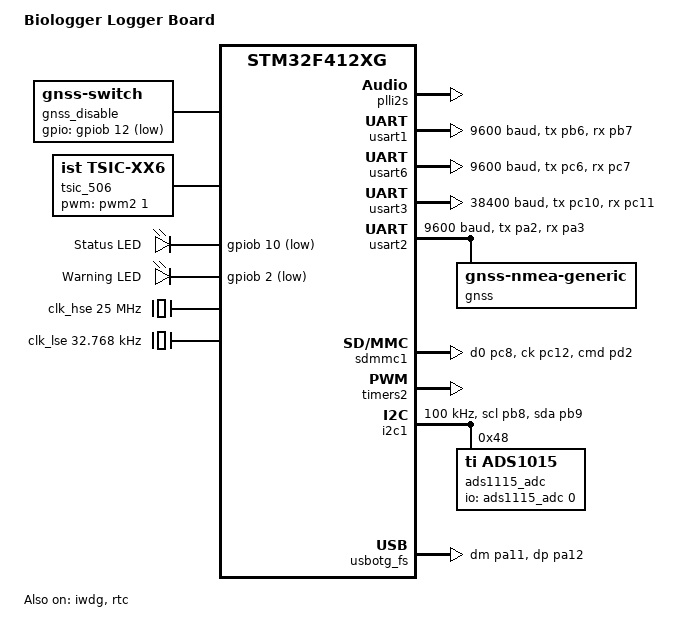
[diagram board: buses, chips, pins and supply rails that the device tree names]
/*
 * Copyright (c) 2024 Marko Vejnovic
 *
 * SPDX-License-Identifier: Apache-2.0
 */

/dts-v1/;
#include <st/f4/stm32f412Xg.dtsi>
#include <st/f4/stm32f412r(e-g)tx-pinctrl.dtsi>

/ {
    model = "Biologger Logger Board";
    compatible = "markovejnovic,biologger";

	chosen {
		zephyr,console = &usart3;
		zephyr,shell-uart = &usart3;
		zephyr,sram = &sram0;
		zephyr,flash = &flash0;
	};

    gnss_disable: gnss_disable {
        compatible = "gnss-switch";
        gpios = <&gpiob 12 GPIO_ACTIVE_LOW>;
        status = "okay";
    };

    tsic_506: tsic_506 {
        status = "okay";
        compatible = "ist,tsic-xx6";
        pwms = <&pwm2 1 PWM_USEC(5) PWM_POLARITY_NORMAL>;
        data-bits = <11>;
        lower-temperature-limit = <(-10)>;
        higher-temperature-limit = <60>;
    };

    leds: leds {
        compatible = "gpio-leds";

        status_led: led_0 {
            gpios = <&gpiob 10 GPIO_ACTIVE_LOW>;
            label = "Status LED";
            status = "okay";
        };

        warning_led: led_1 {
            gpios = <&gpiob 2 GPIO_ACTIVE_LOW>;
            label = "Warning LED";
            status = "okay";
        };
    };

    ximpedance_amp: ximpedance_amp {
        compatible = "ximpedance_amp";
        status = "okay";
        adc = <&ads1115_adc>;
    };

    aliases {
        board-usart-1 = &usart1;
        board-usart-2 = &usart6;
        board-usart-3 = &usart3;
        trutime-clock = &rtc;
    };
};

&clk_hse {
	/delete-property/ hse-bypass;
	clock-frequency = <DT_FREQ_M(25)>; // External 25MHz clock.
	status = "okay";
};

&clk48 {
	/* select one source for the clk48MHz domain clock */
/*	clocks = <&rcc STM32_SRC_PLL_Q CK48M_SEL(0)>;   */
	clocks = <&rcc STM32_SRC_PLLI2S_Q CK48M_SEL(1)>;
	status = "okay";
};

&clk_lse {
    /delete-property/ lse-bypass;
    clock-frequency = <32768>; // External 32.768kHz clock.
    status = "okay";
};

&plli2s {
	div-m = <25>;
	mul-n = <384>;
	div-q = <8>;
	div-r = <2>;
	clocks = <&clk_hse>;
	status = "okay";
};

&pll {
	div-m = <25>;
	mul-n = <384>;
    // TODO(markovejnovic): This could, in theory be bumped up to 4 to help
    // boost the APB2 clock domain, but causes the SDMMC clock to be unusable.
    // That cock should be moved to the PLL48CLK domain.
	div-p = <8>;
	div-q = <8>;
	clocks = <&clk_hse>;
	status = "okay";
};

&rcc {
	clocks = <&clk_hse>;
    // Under no circumustance can you change SYSCLK to be anything greater than
    // 25MHz. As it stands, the SDIO lines are very poorly designed and cannot
    // withstand this high frequency. Even 25MHz is too much and I don't know
    // how to fix it.
	clock-frequency = <DT_FREQ_M(25)>;
	ahb-prescaler = <1>;
	apb1-prescaler = <2>;
    // Note that the APB2 clock domain should NOT be very high. The board
    // layout is not good enough to support 50MHz on the SDIO lines.
	apb2-prescaler = <8>;
};

&iwdg {
    status = "okay";
};

&usart1 {
	pinctrl-0 = <&usart1_tx_pb6 &usart1_rx_pb7>;
	pinctrl-names = "default";
	current-speed = <9600>;
	status = "okay";
};

&usart6 {
	pinctrl-0 = <&usart6_tx_pc6 &usart6_rx_pc7>;
	pinctrl-names = "default";
	current-speed = <9600>;
	status = "okay";
};

&usart3 {
	pinctrl-0 = <&usart3_tx_pc10 &usart3_rx_pc11>;
	pinctrl-names = "default";
	current-speed = <38400>;
	status = "okay";
};

&usart2 {
	pinctrl-0 = <&usart2_tx_pa2 &usart2_rx_pa3>;
	pinctrl-names = "default";
	current-speed = <9600>;
	status = "okay";

    gnss: gnss-nmea-generic {
        compatible = "gnss-nmea-generic";
    };
};

&sdmmc1 {
	clocks = <&rcc STM32_CLOCK(APB2, 11U)>,
	/* select one source for the sdmmc domain clock */
		 <&rcc STM32_SRC_SYSCLK SDIO_SEL(1)>; 
	/*	 <&rcc STM32_SRC_CK48 SDIO_SEL(0)>;    */
    pinctrl-0 = <&sdio_d0_pc8 &sdio_ck_pc12 &sdio_cmd_pd2>;
    pinctrl-names = "default";
    disk-name = "SD";
    clk-div = <24>;
    status = "okay";
};

&rtc {
	clocks = <&rcc STM32_CLOCK_BUS_APB1 0x10000000>,
		 <&rcc STM32_SRC_LSE RTC_SEL(1)>;
	status = "okay";
};

&timers2 {
	status = "okay";

	pwm2: pwm {
		status = "okay";
		pinctrl-0 = <&tim2_ch1_pa0>;
		pinctrl-names = "default";
	};
};

&i2c1 {
	pinctrl-0 = <&i2c1_scl_pb8 &i2c1_sda_pb9>;
	pinctrl-names = "default";
	status = "okay";
	clock-frequency = <I2C_BITRATE_STANDARD>;

    ads1115_adc: ads1115_adc@48 {
        status = "okay";
        compatible = "ti,ads1015";
		reg = <0x48>;
		#io-channel-cells = <1>;
		#address-cells = <1>;
		#size-cells = <0>;

        io-channels = <&ads1115_adc 0>;
        io-channel-names = "A0";

		channel@0 {
			reg = <0>;
			zephyr,gain = "ADC_GAIN_1";
			zephyr,reference = "ADC_REF_INTERNAL";
			zephyr,acquisition-time = <ADC_ACQ_TIME_DEFAULT>;
            zephyr,resolution = <11>;
		};
    };
};

zephyr_udc0: &usbotg_fs {
	pinctrl-0 = <&usb_otg_fs_dm_pa11 &usb_otg_fs_dp_pa12>;
	pinctrl-names = "default";
	status = "okay";
};
